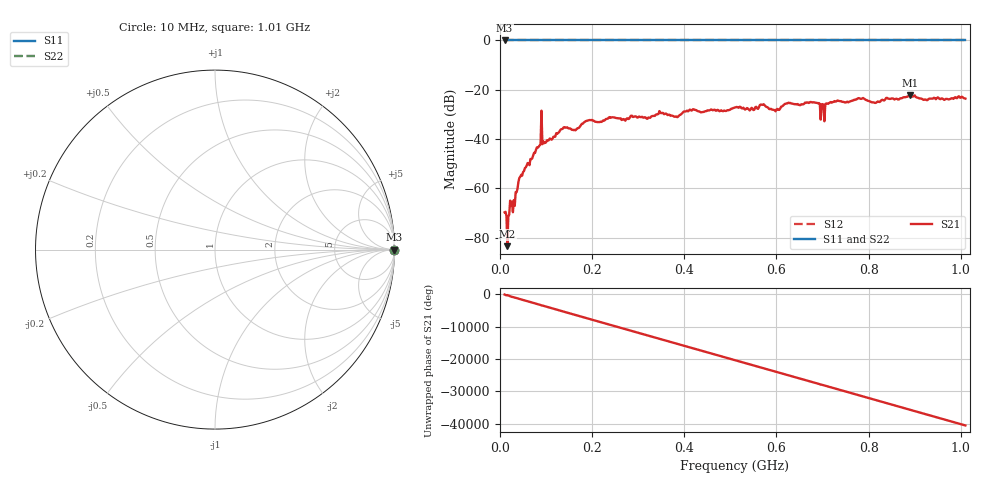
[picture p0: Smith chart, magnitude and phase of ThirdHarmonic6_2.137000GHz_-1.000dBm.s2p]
! 8/17/2025 1:32:02 AM
! C:\ANRITSUVNA\TEMP\TEMP.S2P
! CHANNEL.1
! TR.MEASUREMENT
! RAW.DATA
! RF.CORRECTION.OFF
! AVERAGING.OFF
! IF.BANDWIDTH: 5KHZ
! SWEEPTYPE:  FREQ.SWEEP(Linear)
! Reference Plane Port Info
! PORT:  PORT1  PORT2
! DISTANCE:  0  m  0  m
! TIME:  0  s  0  s
! PHASE.OFFSET:  0  deg.  0  deg.
! LOSS:  0  dB  0  dB
! REF.LOSS:  0  dB  0  dB
! REF.FREQ:  0  Hz  0  Hz
! Power Info
! POWER:  -20  dBm  -20  dBm
! EFF.POWER:  -20  dBm  -20  dBm
! SOURCE.ATTEN:  0  dB  0  dB
! TEST.ATTEN:  0  dB  0  dB
# GHZ S RI R 50.0
! FREQ.GHZ  S11RE  S11IM  S21RE  S21IM  S12RE  S12IM  S22RE  S22IM
!; PortSelection: Port_12
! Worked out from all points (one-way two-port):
!   501 points, 10 MHz to 1.01 GHz, reference 50 ohm
!   highest |S21| = -22.23 dB at 890 MHz (marker M1); lowest = -83.5 dB at 16 MHz (marker M2)
!   lowest |S11| = 0.0 dB at 10 MHz (marker M3)
!   |S11| at or under -10 dB: nowhere
!   |S22| runs from 0.0 to 0.0 dB; largest |S21 - S12| = 1.1
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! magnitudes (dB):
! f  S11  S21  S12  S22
! 10 MHz  0.0  -69.7  0.0  0.0
! 16 MHz  0.0  -83.5  0.0  0.0
! 32 MHz  0.0  -67.1  0.0  0.0
! 44 MHz  0.0  -55.3  0.0  0.0
! 84 MHz  0.0  -43.1  0.0  0.0
! 86 MHz  0.0  -42.6  0.0  0.0
! 94 MHz  0.0  -41.0  0.0  0.0
! 96 MHz  0.0  -41.7  0.0  0.0
! 136 MHz  0.0  -35.9  0.0  0.0
! 178 MHz  0.0  -33.8  0.0  0.0
! 344 MHz  0.0  -29.8  0.0  0.0
! 382 MHz  0.0  -30.8  0.0  0.0
! 416 MHz  0.0  -28.4  0.0  0.0
! 510 MHz  0.0  -27.2  0.0  0.0
! 570 MHz  0.0  -26.1  0.0  0.0
! 596 MHz  0.0  -28.3  0.0  0.0
! 678 MHz  0.0  -25.2  0.0  0.0
! 700 MHz  0.0  -25.8  0.0  0.0
! 730 MHz  0.0  -24.7  0.0  0.0
! 844 MHz  0.0  -23.6  0.0  0.0
! 890 MHz  0.0  -22.2  0.0  0.0
! 1.01 GHz  0.0  -23.6  0.0  0.0
